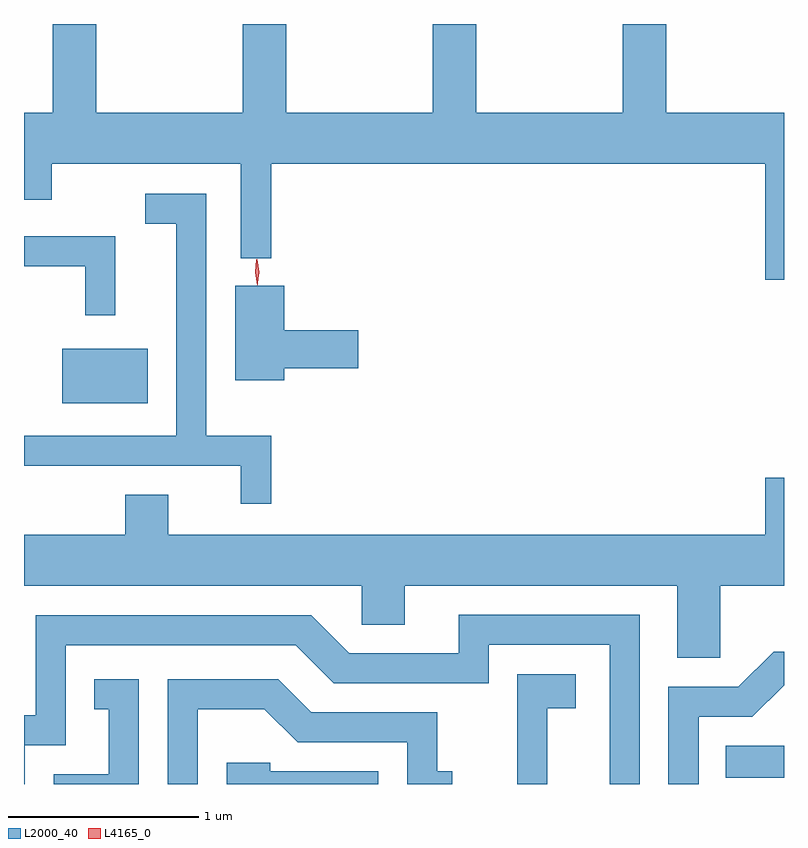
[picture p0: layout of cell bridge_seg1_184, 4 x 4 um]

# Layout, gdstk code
import gdstk
lib = gdstk.Library(unit=1e-6, precision=1e-09)
def R(c, l, rs):  # rectangles x0, y0, x1, y1
    for r in rs: c.add(gdstk.rectangle(r[:2], r[2:], *l))
def P(c, l, *ps):  # polygons
    for p in ps: c.add(gdstk.Polygon(p, *l))
L2000_40 = (2000, 40)
L4165_0 = (4165, 0)

bridge_seg1_184 = lib.new_cell('bridge_seg1_184')
R(bridge_seg1_184, L2000_40, [(814.268,916.326,814.574,916.494), (810.776,918.296,811.224,918.584)])
P(bridge_seg1_184, L2000_40, [(814.574,919.824),(813.954,919.824),(813.954,920.292),(813.726,920.292),(813.726,919.824),(812.954,919.824),(812.954,920.292),(812.726,920.292),(812.726,919.824),(811.954,919.824),(811.954,920.292),(811.726,920.292),(811.726,919.824),(810.954,919.824),(810.954,920.292),(810.726,920.292),(810.726,919.824),(810.574,919.824),(810.574,919.366),(810.719,919.366),(810.719,919.556),(811.716,919.556),(811.716,919.058),(811.874,919.058),(811.874,919.556),(814.476,919.556),(814.476,918.946),(814.574,918.946)],
  [(811.874,918.124),(811.534,918.124),(811.534,919.399),(811.213,919.399),(811.213,919.241),(811.376,919.241),(811.376,918.124),(810.574,918.124),(810.574,917.966),(811.716,917.966),(811.716,917.768),(811.874,917.768)],
  [(811.054,919.174),(810.574,919.174),(810.574,919.016),(810.896,919.016),(810.896,918.758),(811.054,918.758)],
  [(811.944,918.481),(812.334,918.481),(812.334,918.679),(811.944,918.679),(811.944,918.914),(811.686,918.914),(811.686,918.416),(811.944,918.416)],
  [(814.239,917.336),(814.574,917.336),(814.574,917.904),(814.476,917.904),(814.476,917.604),(811.334,917.604),(811.334,917.814),(811.106,917.814),(811.106,917.604),(810.574,917.604),(810.574,917.336),(812.351,917.336),(812.351,917.131),(812.579,917.131),(812.579,917.336),(814.011,917.336),(814.011,916.956),(814.239,916.956)],
  [(810.579,916.496),(810.794,916.496),(810.794,917.021),(812.004,917.021),(812.204,916.821),(813.019,916.821),(813.019,917.026),(813.656,917.026),(813.656,916.292),(813.814,916.292),(813.814,917.184),(812.861,917.184),(812.861,916.979),(812.287,916.979),(812.087,917.179),(810.636,917.179),(810.636,916.654),(810.574,916.654),(810.574,916.292),(810.579,916.292)],
  [(814.124,916.646),(814.407,916.646),(814.574,916.813),(814.574,916.989),(814.519,916.989),(814.334,916.804),(813.966,916.804),(813.966,916.292),(814.124,916.292)],
  [(813.329,916.691),(813.479,916.691),(813.479,916.869),(813.171,916.869),(813.171,916.292),(813.329,916.292)],
  [(811.489,916.686),(811.839,916.686),(812.014,916.511),(812.591,916.511),(812.591,916.292),(812.828,916.292),(812.828,916.359),(812.749,916.359),(812.749,916.669),(812.087,916.669),(811.912,916.844),(811.331,916.844),(811.331,916.292),(811.489,916.292)],
  [(811.179,916.844),(810.943,916.844),(810.943,916.686),(811.021,916.686),(811.021,916.344),(810.731,916.344),(810.731,916.292),(811.179,916.292)],
  [(812.439,916.359),(811.869,916.359),(811.869,916.404),(811.641,916.404),(811.641,916.292),(812.439,916.292)])
P(bridge_seg1_184, L4165_0, [(811.804,918.92),(811.803,918.921),(811.79,918.985),(811.796,919.051),(811.796,919.052),(811.796,919.051),(811.81,918.987),(811.804,918.921)],
  [(811.801,918.918),(811.801,918.918),(811.791,918.986),(811.8,919.055),(811.801,919.055),(811.801,919.055),(811.811,918.986),(811.802,918.918)])

lib.write_gds('bridge_seg1_184.gds')
